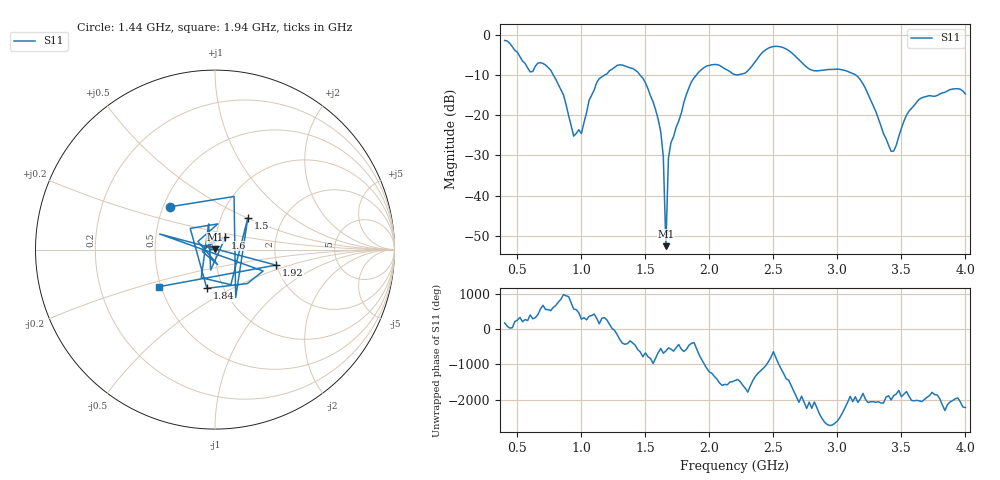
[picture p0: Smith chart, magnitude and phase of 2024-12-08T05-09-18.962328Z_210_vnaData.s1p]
!Created with skrf (http://scikit-rf.org).
# Hz S RI R 50.0
!freq ReS11 ImS11
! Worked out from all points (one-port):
!   181 points, 400 MHz to 4 GHz, reference 50 ohm
!   lowest |S11| = -52.6 dB at 1.66 GHz (marker M1), VSWR 1.00, Z = 50 + j0.234 ohm
!   |S11| at or under -10 dB: 781.2 MHz to 1.178 GHz (396.7 MHz wide, 40.5 % of centre); 1.459 GHz to 1.897 GHz (438.3 MHz wide, 26.1 % of centre); 3.145 GHz to end of sweep
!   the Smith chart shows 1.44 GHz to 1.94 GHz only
!   S11 on the Smith chart (normalised r, x): 1.44 GHz: 0.54, +0.29; 1.5 GHz: 1.34, +0.51; 1.6 GHz: 1.11, +0.15; 1.84 GHz: 0.83, -0.38; 1.92 GHz: 1.98, -0.39; 1.94 GHz: 0.49, -0.23
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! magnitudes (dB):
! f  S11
! 400 MHz  -1.3
! 600 MHz  -9.2
! 720 MHz  -7.4
! 860 MHz  -14.9
! 940 MHz  -25.2
! 1 GHz  -24.5
! 1.12 GHz  -11.8
! 1.3 GHz  -7.4
! 1.44 GHz  -9.2
! 1.5 GHz  -11.9
! 1.6 GHz  -21.0
! 1.64 GHz  -30.3
! 1.66 GHz  -52.6
! 1.68 GHz  -30.6
! 1.76 GHz  -21.5
! 1.84 GHz  -13.1
! 1.92 GHz  -9.1
! 1.94 GHz  -8.6
! 2.2 GHz  -9.9
! 2.48 GHz  -3.0
! 2.66 GHz  -4.9
! 2.8 GHz  -8.7
! 3.1 GHz  -9.3
! 3.22 GHz  -13.3
! 3.42 GHz  -29.0
! 3.56 GHz  -18.9
! 3.66 GHz  -15.6
! 4 GHz  -14.7
